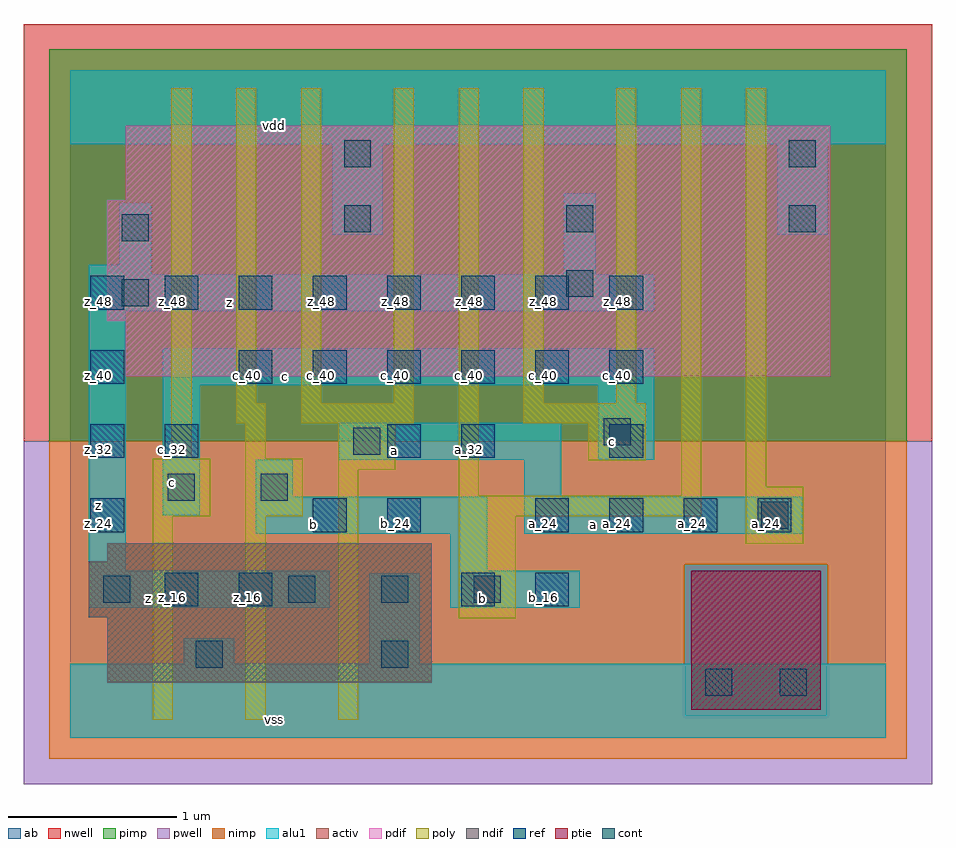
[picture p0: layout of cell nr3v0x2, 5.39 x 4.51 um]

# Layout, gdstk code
import gdstk
lib = gdstk.Library(unit=1e-6, precision=2.5e-09)
def R(c, l, rs):  # rectangles x0, y0, x1, y1
    for r in rs: c.add(gdstk.rectangle(r[:2], r[2:], *l))
def A(c, l, x, y, w, h, nx, ny, dx, dy):  # array of equal rectangles
    R(c, l, [(x+i*dx, y+j*dy, x+i*dx+w, y+j*dy+h) for i in range(nx) for j in range(ny)])
ndif = (3, 0)
pdif = (4, 0)
ptie = (6, 0)
ref = (24, 0)
cont = (25, 0)
pwell = (41, 0)
nwell = (42, 0)
activ = (43, 0)
pimp = (44, 0)
nimp = (45, 0)
poly = (46, 0)
alu1 = (49, 0)
ab = (63, 0)

nr3v0x2 = lib.new_cell('nr3v0x2')
R(nr3v0x2, ndif, [(0.22,0.33,2.145,0.715), (0.11,0.715,2.145,1.045), (0.22,1.045,2.145,1.155)])
R(nr3v0x2, pdif, [(0.33,2.145,4.51,2.475), (0.22,2.475,4.51,3.19), (0.33,3.19,4.51,3.63)])
R(nr3v0x2, ptie, [(3.685,0.165,4.455,0.99)])
A(nr3v0x2, ref, 0.12, 1.22, 0.2, 0.2, 1, 3, 0, 0.44)
A(nr3v0x2, ref, 2.76, 1.22, 0.2, 0.2, 4, 1, 0.44, 0)
A(nr3v0x2, ref, 1, 2.1, 0.2, 0.2, 6, 1, 0.44, 0)
A(nr3v0x2, ref, 0.12, 2.54, 0.2, 0.2, 8, 1, 0.44, 0)
R(nr3v0x2, ref, [(0.56,0.78,0.76,0.98), (1,0.78,1.2,0.98), (2.32,0.78,2.52,0.98), (2.76,0.78,2.96,0.98), (1.44,1.22,1.64,1.42), (1.88,1.22,2.08,1.42), (0.56,1.66,0.76,1.86), (1.88,1.66,2.08,1.86), (2.32,1.66,2.52,1.86), (3.2,1.66,3.4,1.86)])
A(nr3v0x2, cont, 1.295, 0.8, 0.16, 0.16, 3, 1, 0.55, 0)
A(nr3v0x2, cont, 1.625, 3, 0.16, 0.16, 3, 1, 1.32, 0)
R(nr3v0x2, cont, [(3.77,0.25,3.93,0.41), (4.21,0.25,4.37,0.41), (0.745,0.415,0.905,0.575), (1.845,0.415,2.005,0.575), (0.195,0.8,0.355,0.96), (4.1,1.24,4.26,1.4), (0.58,1.405,0.74,1.565), (1.13,1.405,1.29,1.565), (1.68,1.68,1.84,1.84), (3.165,1.735,3.325,1.895), (0.305,2.56,0.465,2.72), (2.945,2.615,3.105,2.775), (0.305,2.945,0.465,3.105), (1.625,3.385,1.785,3.545), (4.265,3.385,4.425,3.545)])
R(nr3v0x2, pwell, [(-0.275,-0.275,5.115,1.76)])
R(nr3v0x2, nwell, [(-0.275,1.76,5.115,4.235)])
R(nr3v0x2, activ, [(3.685,0.165,4.455,0.99), (0.22,0.33,2.145,0.715), (0.11,0.715,2.145,1.045), (0.22,1.045,2.145,1.155), (0.33,2.145,4.51,2.475), (0.22,2.475,4.51,3.19), (0.33,3.19,4.51,3.63)])
R(nr3v0x2, pimp, [(3.645,0.125,4.495,1.03), (-0.125,1.76,4.965,4.085)])
R(nr3v0x2, nimp, [(-0.125,-0.125,4.965,0.125), (-0.125,0.125,3.645,1.03), (4.495,0.125,4.965,1.03), (-0.125,1.03,4.965,1.76)])
R(nr3v0x2, poly, [(0.49,0.105,0.61,1.315), (1.04,0.105,1.16,1.315), (1.59,0.105,1.71,1.59), (2.305,0.71,2.645,1.315), (4.01,1.15,4.35,1.49), (0.49,1.315,0.83,1.655), (1.04,1.315,1.38,1.655), (2.305,1.315,3.745,1.435), (2.305,1.435,2.425,3.855), (3.625,1.435,3.745,3.855), (4.01,1.49,4.13,3.855), (1.59,1.59,1.93,1.865), (3.075,1.645,3.415,1.865), (0.6,1.655,0.72,3.855), (1.04,1.655,1.16,1.865), (0.985,1.865,1.16,1.985), (1.37,1.865,2.04,1.985), (2.69,1.865,3.415,1.985), (0.985,1.985,1.105,3.855), (1.37,1.985,1.49,3.855), (1.92,1.985,2.04,3.855), (2.69,1.985,2.81,3.855), (3.24,1.985,3.36,3.855)])
R(nr3v0x2, alu1, [(0,0,4.84,0.44), (0.675,0.44,0.975,0.59), (1.775,0.44,2.075,0.975), (0.11,0.77,1.54,0.99), (2.255,0.77,3.025,0.99), (0.11,0.99,0.33,2.53), (2.255,0.99,2.475,1.21), (1.1,1.21,2.475,1.43), (2.695,1.21,4.345,1.43), (0.55,1.32,0.77,2.09), (1.1,1.43,1.32,1.65), (2.695,1.43,2.915,1.65), (1.595,1.65,2.915,1.87), (3.135,1.65,3.465,2.09), (0.55,2.09,3.465,2.31), (0.11,2.53,3.465,2.75), (0.11,2.75,0.48,2.805), (2.93,2.75,3.12,3.23), (0.29,2.805,0.48,3.175), (1.555,2.985,1.855,3.52), (4.195,2.985,4.495,3.52), (0,3.52,4.84,3.96)])
R(nr3v0x2, ab, [(0,0,4.84,3.96)])
nr3v0x2.add(gdstk.Label('vss', (1.21,0.11), layer=49, texttype=0))
nr3v0x2.add(gdstk.Label('b', (2.4475,0.825), layer=49, texttype=0))
nr3v0x2.add(gdstk.Label('z', (0.4675,0.825), layer=49, texttype=0))
nr3v0x2.add(gdstk.Label('a', (3.1075,1.265), layer=49, texttype=0))
nr3v0x2.add(gdstk.Label('b', (1.4425,1.265), layer=49, texttype=0))
nr3v0x2.add(gdstk.Label('c', (3.2175,1.76), layer=49, texttype=0))
nr3v0x2.add(gdstk.Label('a', (1.925,1.705), layer=49, texttype=0))
nr3v0x2.add(gdstk.Label('c', (0.605,1.5125), layer=49, texttype=0))
nr3v0x2.add(gdstk.Label('c', (1.2775,2.145), layer=49, texttype=0))
nr3v0x2.add(gdstk.Label('z', (0.165,1.375), layer=49, texttype=0))
nr3v0x2.add(gdstk.Label('z', (0.9475,2.585), layer=49, texttype=0))
nr3v0x2.add(gdstk.Label('vdd', (1.21,3.63), layer=49, texttype=0))
nr3v0x2.add(gdstk.Label('z_16', (0.61,0.83), layer=24, texttype=0))
nr3v0x2.add(gdstk.Label('c_32', (0.61,1.71), layer=24, texttype=0))
nr3v0x2.add(gdstk.Label('z_48', (0.61,2.59), layer=24, texttype=0))
nr3v0x2.add(gdstk.Label('z_16', (1.05,0.83), layer=24, texttype=0))
nr3v0x2.add(gdstk.Label('c_40', (1.05,2.15), layer=24, texttype=0))
nr3v0x2.add(gdstk.Label('z_48', (1.05,2.59), layer=24, texttype=0))
nr3v0x2.add(gdstk.Label('b_24', (1.49,1.27), layer=24, texttype=0))
nr3v0x2.add(gdstk.Label('c_40', (1.49,2.15), layer=24, texttype=0))
nr3v0x2.add(gdstk.Label('z_48', (1.49,2.59), layer=24, texttype=0))
nr3v0x2.add(gdstk.Label('b_24', (1.93,1.27), layer=24, texttype=0))
nr3v0x2.add(gdstk.Label('a_32', (1.93,1.71), layer=24, texttype=0))
nr3v0x2.add(gdstk.Label('c_40', (1.93,2.15), layer=24, texttype=0))
nr3v0x2.add(gdstk.Label('z_48', (1.93,2.59), layer=24, texttype=0))
nr3v0x2.add(gdstk.Label('z_24', (0.17,1.27), layer=24, texttype=0))
nr3v0x2.add(gdstk.Label('z_32', (0.17,1.71), layer=24, texttype=0))
nr3v0x2.add(gdstk.Label('z_40', (0.17,2.15), layer=24, texttype=0))
nr3v0x2.add(gdstk.Label('z_48', (0.17,2.59), layer=24, texttype=0))
nr3v0x2.add(gdstk.Label('b_16', (2.37,0.83), layer=24, texttype=0))
nr3v0x2.add(gdstk.Label('a_32', (2.37,1.71), layer=24, texttype=0))
nr3v0x2.add(gdstk.Label('c_40', (2.37,2.15), layer=24, texttype=0))
nr3v0x2.add(gdstk.Label('z_48', (2.37,2.59), layer=24, texttype=0))
nr3v0x2.add(gdstk.Label('b_16', (2.81,0.83), layer=24, texttype=0))
nr3v0x2.add(gdstk.Label('a_24', (2.81,1.27), layer=24, texttype=0))
nr3v0x2.add(gdstk.Label('c_40', (2.81,2.15), layer=24, texttype=0))
nr3v0x2.add(gdstk.Label('z_48', (2.81,2.59), layer=24, texttype=0))
nr3v0x2.add(gdstk.Label('a_24', (3.25,1.27), layer=24, texttype=0))
nr3v0x2.add(gdstk.Label('c_32', (3.25,1.71), layer=24, texttype=0))
nr3v0x2.add(gdstk.Label('c_40', (3.25,2.15), layer=24, texttype=0))
nr3v0x2.add(gdstk.Label('z_48', (3.25,2.59), layer=24, texttype=0))
nr3v0x2.add(gdstk.Label('a_24', (3.69,1.27), layer=24, texttype=0))
nr3v0x2.add(gdstk.Label('a_24', (4.13,1.27), layer=24, texttype=0))

lib.write_gds('nr3v0x2.gds')
